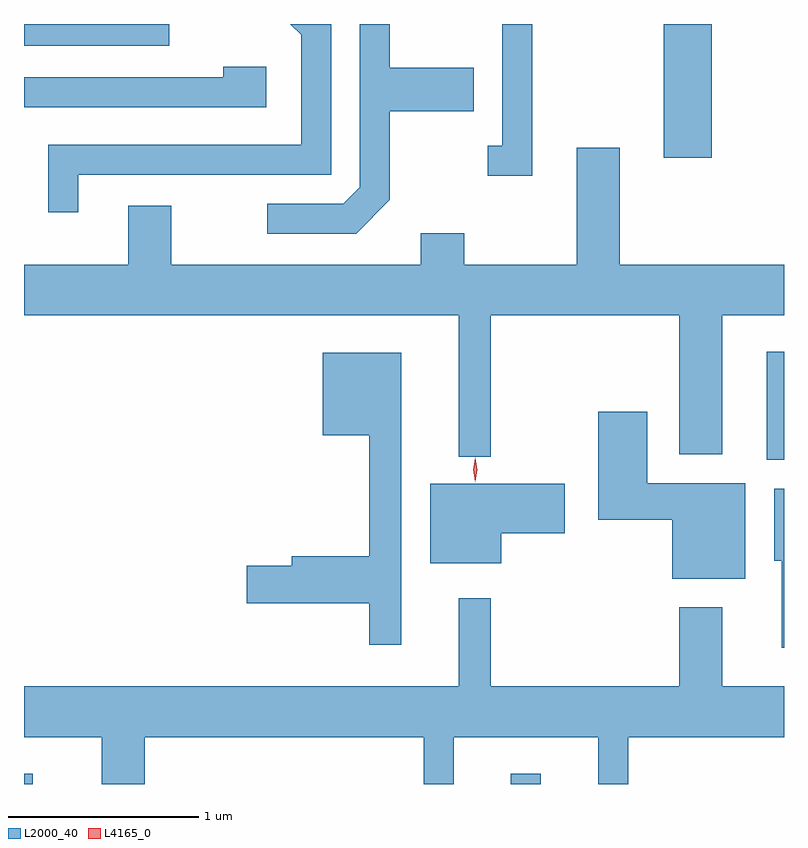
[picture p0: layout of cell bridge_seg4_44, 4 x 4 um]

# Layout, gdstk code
import gdstk
lib = gdstk.Library(unit=1e-6, precision=1e-09)
def R(c, l, rs):  # rectangles x0, y0, x1, y1
    for r in rs: c.add(gdstk.rectangle(r[:2], r[2:], *l))
def P(c, l, *ps):  # polygons
    for p in ps: c.add(gdstk.Polygon(p, *l))
L2000_40 = (2000, 40)
L4165_0 = (4165, 0)

bridge_seg4_44 = lib.new_cell('bridge_seg4_44')
R(bridge_seg4_44, L2000_40, [(1304.113,1369.97,1304.159,1370.024), (1306.676,1369.97,1306.834,1370.023), (1308.021,1371.676,1308.113,1372.244), (1307.481,1373.266,1307.734,1373.97), (1304.113,1373.856,1304.878,1373.97)])
P(bridge_seg4_44, L2000_40, [(1304.399,1373.176),(1305.729,1373.176),(1305.729,1373.97),(1305.515,1373.97),(1305.571,1373.914),(1305.571,1373.334),(1304.241,1373.334),(1304.241,1372.978),(1304.399,1372.978)],
  [(1306.039,1373.044),(1306.039,1373.511),(1306.479,1373.511),(1306.479,1373.739),(1306.039,1373.739),(1306.039,1373.97),(1305.881,1373.97),(1305.881,1373.112),(1305.794,1373.024),(1305.393,1373.024),(1305.393,1372.866),(1305.862,1372.866)],
  [(1306.789,1373.97),(1306.631,1373.97),(1306.631,1373.329),(1306.553,1373.329),(1306.553,1373.171),(1306.789,1373.171)],
  [(1305.389,1373.744),(1305.161,1373.744),(1305.161,1373.689),(1304.113,1373.689),(1304.113,1373.531),(1305.389,1373.531)],
  [(1306.569,1372.436),(1307.561,1372.436),(1307.561,1371.706),(1307.789,1371.706),(1307.789,1372.436),(1308.113,1372.436),(1308.113,1372.704),(1307.249,1372.704),(1307.249,1373.319),(1307.021,1373.319),(1307.021,1372.704),(1306.429,1372.704),(1306.429,1372.869),(1306.201,1372.869),(1306.201,1372.704),(1304.889,1372.704),(1304.889,1373.014),(1304.661,1373.014),(1304.661,1372.704),(1304.113,1372.704),(1304.113,1372.436),(1306.401,1372.436),(1306.401,1371.693),(1306.569,1371.693)],
  [(1306.099,1372.239),(1305.686,1372.239),(1305.686,1371.806),(1305.931,1371.806),(1305.931,1371.169),(1305.521,1371.169),(1305.521,1371.119),(1305.286,1371.119),(1305.286,1370.921),(1305.931,1370.921),(1305.931,1370.703),(1306.099,1370.703)],
  [(1307.909,1371.554),(1307.394,1371.554),(1307.394,1371.929),(1307.136,1371.929),(1307.136,1371.361),(1307.526,1371.361),(1307.526,1371.051),(1307.909,1371.051)],
  [(1306.624,1371.291),(1306.959,1371.291),(1306.959,1371.549),(1306.251,1371.549),(1306.251,1371.131),(1306.624,1371.131)],
  [(1308.113,1371.524),(1308.061,1371.524),(1308.061,1371.146),(1308.101,1371.146),(1308.101,1370.686),(1308.113,1370.686)],
  [(1304.749,1370.216),(1306.216,1370.216),(1306.216,1369.97),(1306.374,1369.97),(1306.374,1370.216),(1307.136,1370.216),(1307.136,1369.97),(1307.294,1369.97),(1307.294,1370.216),(1308.113,1370.216),(1308.113,1370.484),(1307.789,1370.484),(1307.789,1370.899),(1307.561,1370.899),(1307.561,1370.484),(1306.569,1370.484),(1306.569,1370.948),(1306.401,1370.948),(1306.401,1370.484),(1304.113,1370.484),(1304.113,1370.216),(1304.521,1370.216),(1304.521,1369.97),(1304.749,1369.97)])
P(bridge_seg4_44, L4165_0, [(1306.487,1371.56),(1306.478,1371.623),(1306.487,1371.686),(1306.488,1371.687),(1306.488,1371.686),(1306.498,1371.623),(1306.488,1371.56),(1306.488,1371.56)])

lib.write_gds('bridge_seg4_44.gds')
